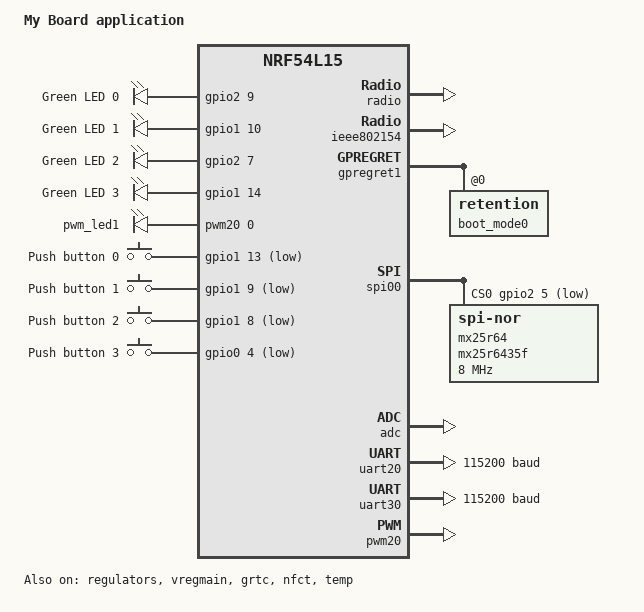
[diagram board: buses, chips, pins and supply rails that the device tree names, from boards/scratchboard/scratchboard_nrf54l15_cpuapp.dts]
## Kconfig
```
menuconfig LED_SUBSYSTEM
    bool "LED Subsystem"
    default y


if LED_SUBSYSTEM

choice 
    prompt "LED blink sleep time"
    default BLINK_SLEEP_1000MS

config BLINK_SLEEP_250MS
    bool "Fast"

config BLINK_SLEEP_1000MS
    bool "Medium"

config BLINK_SLEEP_2000MS
    bool "Slow"

endchoice

menuconfig ADVANCED_LED_SUBSYSTEM
    bool "Advanced LED settings"
    default n

if ADVANCED_LED_SUBSYSTEM

config LED_BRIGHTNESS
    int "LED brightness (0-100)"
    default 100
    range 0 100

config LED_FADE_DURATION_MS
    int "Fade duration (ms)"
    default 500
    range 0 5000

menu "Expert settings"
    visible if ADVANCED_LED_SUBSYSTEM

menuconfig LED_SUBSYSTEMDEBUGGING
    bool "Enable LED Debugging"
    default n

menuconfig CUSTOM_PATTERN
    bool "Custom blink pattern"
    default n

endmenu


endif # ADVANCED_LED_SUBSYSTEM

endif # LED_SUBSYSTEM


config APP_HEARTBEAT_PERIOD_MS
    int "Heartbeat period (ms)"
    default 500
    range 100 2000


config BLINK_SLEEP_TIME_MS  
    int
    default 250 if BLINK_SLEEP_250MS
    default 1000 if BLINK_SLEEP_1000MS
    default 2000 if BLINK_SLEEP_2000MS
    default 0

source "Kconfig.zephyr"
rsource "drivers/our_driver/Kconfig"
```

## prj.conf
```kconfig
CONFIG_GPIO=y
CONFIG_LOG=y
CONFIG_SERIAL=y
CONFIG_CONSOLE=y
CONFIG_UART_CONSOLE=y
CONFIG_SHELL=y
```

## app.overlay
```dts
/ {
	aliases {
		app-led = &led0; // by node label
	};

	led_driver0: elv_led_control  {
		compatible = "elv,led-control";
		status = "okay";
	};
};
```

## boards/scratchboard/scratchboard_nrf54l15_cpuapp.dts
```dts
/*
 * Copyright (c) 2024 Nordic Semiconductor ASA
 *
 * SPDX-License-Identifier: Apache-2.0
 */

/dts-v1/;

#include <nordic/nrf54l15_cpuapp.dtsi>
#include <../boards/nordic/nrf54l15dk/nrf54l15dk_nrf54l_05_10_15-pinctrl.dtsi>

/ {
	compatible = "elvedin,scratchboard";
	model = "My Board application";

	chosen {
		zephyr,code-partition = &slot0_partition;
		zephyr,sram = &cpuapp_sram;
		zephyr,console = &uart20;
		zephyr,shell-uart = &uart20;
		zephyr,uart-mcumgr = &uart20;
		zephyr,bt-mon-uart = &uart20;
		zephyr,bt-c2h-uart = &uart20;
		zephyr,flash-controller = &rram_controller;
		zephyr,flash = &cpuapp_rram;
	};

	leds {
		compatible = "gpio-leds";

		led0: led_0 {
			gpios = <&gpio2 9 GPIO_ACTIVE_HIGH>;
			label = "Green LED 0";
		};

		led1: led_1 {
			gpios = <&gpio1 10 GPIO_ACTIVE_HIGH>;
			label = "Green LED 1";
		};

		led2: led_2 {
			gpios = <&gpio2 7 GPIO_ACTIVE_HIGH>;
			label = "Green LED 2";
		};

		led3: led_3 {
			gpios = <&gpio1 14 GPIO_ACTIVE_HIGH>;
			label = "Green LED 3";
		};
	};

	pwmleds {
		compatible = "pwm-leds";

		/*
		 * PWM signal can be exposed on GPIO pin only within same domain.
		 * There is only one domain which contains both PWM and GPIO:
		 * PWM20/21/22 and GPIO Port P1.
		 * Only LEDs connected to P1 can work with PWM, for example LED1.
		 */
		pwm_led1: pwm_led_1 {
			pwms = <&pwm20 0 PWM_MSEC(20) PWM_POLARITY_NORMAL>;
		};
	};

	buttons {
		compatible = "gpio-keys";

		button0: button_0 {
			gpios = <&gpio1 13 (GPIO_PULL_UP | GPIO_ACTIVE_LOW)>;
			label = "Push button 0";
			zephyr,code = <INPUT_KEY_0>;
		};

		button1: button_1 {
			gpios = <&gpio1 9 (GPIO_PULL_UP | GPIO_ACTIVE_LOW)>;
			label = "Push button 1";
			zephyr,code = <INPUT_KEY_1>;
		};

		button2: button_2 {
			gpios = <&gpio1 8 (GPIO_PULL_UP | GPIO_ACTIVE_LOW)>;
			label = "Push button 2";
			zephyr,code = <INPUT_KEY_2>;
		};

		button3: button_3 {
			gpios = <&gpio0 4 (GPIO_PULL_UP | GPIO_ACTIVE_LOW)>;
			label = "Push button 3";
			zephyr,code = <INPUT_KEY_3>;
		};
	};

	aliases {
		led0 = &led0;
		led1 = &led1;
		led2 = &led2;
		led3 = &led3;
		pwm-led0 = &pwm_led1;
		sw0 = &button0;
		sw1 = &button1;
		sw2 = &button2;
		sw3 = &button3;
		watchdog0 = &wdt31;
	};
};

&cpuapp_sram {
	status = "okay";
};

&lfxo {
	load-capacitors = "internal";
	load-capacitance-femtofarad = <17000>;
};

&hfxo {
	load-capacitors = "internal";
	load-capacitance-femtofarad = <15000>;
};

&regulators {
	status = "okay";
};

&vregmain {
	status = "okay";
	regulator-initial-mode = <NRF5X_REG_MODE_DCDC>;
};

&grtc {
	owned-channels = <0 1 2 3 4 5 6 7 8 9 10 11>;
	/* Channels 7-11 reserved for Zero Latency IRQs, 3-4 for FLPR */
	child-owned-channels = <3 4 7 8 9 10 11>;
	status = "okay";
};

&nfct {
	status = "okay";
};

&gpio0 {
	status = "okay";
};

&gpio1 {
	status = "okay";
};

&gpio2 {
	status = "okay";
};

&gpiote20 {
	status = "okay";
};

&gpiote30 {
	status = "okay";
};

&radio {
	status = "okay";
};

&ieee802154 {
	status = "okay";
};

&temp {
	status = "okay";
};

&clock {
	status = "okay";
};

&gpregret1 {
	status = "okay";

	boot_mode0: boot_mode@0 {
		compatible = "zephyr,retention";
		status = "okay";
		reg = <0x0 0x1>;
	};
};

&spi00 {
	status = "okay";
	cs-gpios = <&gpio2 5 GPIO_ACTIVE_LOW>;
	pinctrl-0 = <&spi00_default>;
	pinctrl-1 = <&spi00_sleep>;
	pinctrl-names = "default", "sleep";

	mx25r64: mx25r6435f@0 {
		compatible = "jedec,spi-nor";
		status = "okay";
		reg = <0>;
		spi-max-frequency = <8000000>;
		jedec-id = [c2 28 17];
		sfdp-bfp = [
			e5 20 f1 ff  ff ff ff 03  44 eb 08 6b  08 3b 04 bb
			ee ff ff ff  ff ff 00 ff  ff ff 00 ff  0c 20 0f 52
			10 d8 00 ff  23 72 f5 00  82 ed 04 cc  44 83 48 44
			30 b0 30 b0  f7 c4 d5 5c  00 be 29 ff  f0 d0 ff ff
		];
		size = <67108864>;
		has-dpd;
		t-enter-dpd = <10000>;
		t-exit-dpd = <35000>;
	};
};

&adc {
	status = "okay";
};

&uart20 {
	status = "okay";
	current-speed = <115200>;
	pinctrl-0 = <&uart20_default>;
	pinctrl-1 = <&uart20_sleep>;
	pinctrl-names = "default", "sleep";
};

&uart30 {
	current-speed = <115200>;
	pinctrl-0 = <&uart30_default>;
	pinctrl-1 = <&uart30_sleep>;
	pinctrl-names = "default", "sleep";
};

&pwm20 {
	status = "okay";
	pinctrl-0 = <&pwm20_default>;
	pinctrl-1 = <&pwm20_sleep>;
	pinctrl-names = "default", "sleep";
};

&hfxo {
	startup-time-us = <854>;
};

/* Get a node label for wi-fi spi to use in shield files */
wifi_spi: &spi22 {};


/* Include default memory partition configuration file */
#include <nordic/nrf54l15_partition.dtsi>
```

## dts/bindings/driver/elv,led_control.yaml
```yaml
description: Our custom sensor driver binding
compatible: "elv,led-control"
include: base.yaml
```

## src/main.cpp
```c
#include <zephyr/drivers/gpio.h>
#include <zephyr/kernel.h>
#include <zephyr/logging/log.h>
#include <zephyr/drivers/sensor.h>

#define SLEEP_TIME_MS 1000

/* The devicetree node identifier for the "app-led" alias. */
#define LED_NODE DT_ALIAS(app_led)

LOG_MODULE_REGISTER(main, LOG_LEVEL_INF);

/*
namespace{
    void test() {
        const struct device* driver = DEVICE_DT_GET(DT_NODELABEL(led_driver0));
        struct sensor_value val;
        int ret = sensor_channel_get(driver, SENSOR_CHAN_AMBIENT_TEMP, &val);
        LOG_INF("Channel ret %d", ret);
    }

}
*/
static const struct device* dev = DEVICE_DT_GET(DT_NODELABEL(led_driver0));

int main(void)
{

    if (!device_is_ready(dev)) {
        return -ENODEV;
    }

   
    while (1) {

        /*
        int ret = sensor_sample_fetch(dev);

        if (ret < 0) {
            LOG_ERR("sensor_sample_fetch failed: %d", ret);
            return ret;
        }
         k_msleep(CONFIG_APP_HEARTBEAT_PERIOD_MS);

        struct sensor_value value;
        ret = sensor_channel_get(dev, SENSOR_CHAN_AMBIENT_TEMP, &value);

        if (ret < 0) {                       // calls channel_get: LED off
            LOG_ERR("sensor_channel_get failed: %d", ret);
            return ret;
        }

        //LOG_INF("LED state: %s", led_state ? "ON" : "OFF");
        */
        k_msleep(CONFIG_APP_HEARTBEAT_PERIOD_MS);
        
    }
    return 0;
}
```
